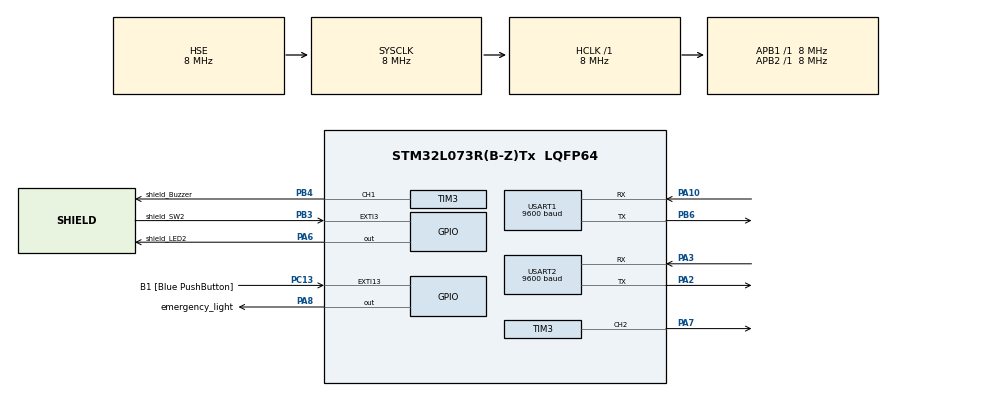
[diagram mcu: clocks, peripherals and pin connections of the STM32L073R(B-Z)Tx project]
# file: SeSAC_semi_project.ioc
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Mcu.Family=STM32L0
Mcu.Name=STM32L073R(B-Z)Tx
Mcu.Package=LQFP64
NVIC.EXTI2_3_IRQn=true\:0\:0\:false\:false\:true\:true\:true\:true
NVIC.EXTI4_15_IRQn=true\:0\:0\:false\:false\:true\:true\:true\:true
NVIC.TIM3_IRQn=true\:0\:0\:false\:false\:true\:true\:true\:true
NVIC.USART1_IRQn=true\:0\:0\:false\:false\:true\:true\:true\:true
PA10.GPIO_PuPd=GPIO_PULLUP
PA10.Mode=Asynchronous
PA10.Signal=USART1_RX
PA13.GPIO_Label=TMS
PA13.Mode=Serial_Wire
PA13.Signal=SYS_SWDIO
PA14.GPIO_Label=TCK
PA14.Mode=Serial_Wire
PA14.Signal=SYS_SWCLK
PA2.Mode=Asynchronous
PA2.Signal=USART2_TX
PA3.Mode=Asynchronous
PA3.Signal=USART2_RX
PA6.GPIO_Label=shield_LED2
PA6.GPIO_Speed=GPIO_SPEED_FREQ_VERY_HIGH
PA6.Signal=GPIO_Output
PA7.Signal=S_TIM3_CH2
PA8.GPIO_Label=emergency_light
PA8.GPIO_Speed=GPIO_SPEED_FREQ_VERY_HIGH
PA8.Signal=GPIO_Output
PB3.GPIO_Label=shield_SW2
PB3.Signal=GPXTI3
PB4.GPIO_Label=shield_Buzzer
PB4.Signal=S_TIM3_CH1
PB6.Mode=Asynchronous
PB6.Signal=USART1_TX
PC13.GPIO_Label=B1 [Blue PushButton]
PC13.GPIO_ModeDefaultEXTI=GPIO_MODE_IT_FALLING
PC13.Signal=GPXTI13
PC14-OSC32_IN.Mode=LSE-External-Oscillator
PC14-OSC32_IN.Signal=RCC_OSC32_IN
PC15-OSC32_OUT.Mode=LSE-External-Oscillator
PC15-OSC32_OUT.Signal=RCC_OSC32_OUT
PH0-OSC_IN.GPIO_Label=MCO
PH0-OSC_IN.Mode=HSE-External-Clock-Source
PH0-OSC_IN.Signal=RCC_OSC_IN
ProjectManager.HeapSize=0x200
ProjectManager.StackSize=0x400
ProjectManager.TargetToolchain=MDK-ARM V5.32
RCC.AHBFreq_Value=8000000
RCC.APB1Freq_Value=8000000
RCC.APB1TimFreq_Value=8000000
RCC.APB2Freq_Value=8000000
RCC.APB2TimFreq_Value=8000000
RCC.HCLKFreq_Value=8000000
RCC.HSE_VALUE=8000000
RCC.HSI16_VALUE=16000000
RCC.HSI48_VALUE=48000000
RCC.HSI_VALUE=16000000
RCC.MSI_VALUE=2097000
RCC.SYSCLKFreq_VALUE=8000000
RCC.SYSCLKSource=RCC_SYSCLKSOURCE_HSE
RCC.VCOOutputFreq_Value=48000000
SH.S_TIM3_CH1.0=TIM3_CH1,PWM Generation1 CH1
SH.S_TIM3_CH2.0=TIM3_CH2,PWM Generation2 CH2
TIM3.Channel-PWM\ Generation1\ CH1=TIM_CHANNEL_1
TIM3.Channel-PWM\ Generation2\ CH2=TIM_CHANNEL_2
TIM3.Period=1000-1
TIM3.Prescaler=8-1
USART1.BaudRate=9600
USART1.VirtualMode-Asynchronous=VM_ASYNC
USART2.BaudRate=9600
USART2.VirtualMode-Asynchronous=VM_ASYNC
board=NUCLEO-L073RZ

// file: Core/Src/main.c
/* USER CODE BEGIN Header */
/**
  ******************************************************************************
  * @file           : main.c
  * @brief          : Main program body
  ******************************************************************************
  * @attention
  *
  * Copyright (c) 2025 STMicroelectronics.
  * All rights reserved.
  *
  * This software is licensed under terms that can be found in the LICENSE file
  * in the root directory of this software component.
  * If no LICENSE file comes with this software, it is provided AS-IS.
  *
  ******************************************************************************
  */
/* USER CODE END Header */
#include "main.h"

/* USER CODE BEGIN Includes */
#include "hw_vcom.h"
#include "stm32l0xx_nucleo.h"
/* USER CODE END Includes */

TIM_HandleTypeDef htim3;

UART_HandleTypeDef huart1;
UART_HandleTypeDef huart2;

/* USER CODE BEGIN PV */

//volatile int motor_state = 0;
UART_HandleTypeDef huart2;
volatile uint8_t buttonPressed = 0;
uint8_t accidentOccurred = 0;

uint8_t rxData;
volatile uint8_t rxIndex = 0;
volatile uint8_t receivedFlag = 0;

/* USER CODE END PV */

void SystemClock_Config(void);
static void MX_GPIO_Init(void);
static void MX_USART2_UART_Init(void);
static void MX_TIM3_Init(void);
static void MX_USART1_UART_Init(void);
/* USER CODE BEGIN PFP */

void HAL_GPIO_EXTI_Callback(uint16_t GPIO_Pin);

/* USER CODE END PFP */

/* USER CODE BEGIN 0 */

void HAL_UART_RxCpltCallback(UART_HandleTypeDef *huart) {
    if (huart->Instance == USART1) {
        receivedFlag = 1;
        HAL_UART_Receive_IT(&huart1, &rxData, 1);
    }
}

/* USER CODE END 0 */

int main(void)
{

  /* MCU Configuration--------------------------------------------------------*/

  /* Reset of all peripherals, Initializes the Flash interface and the Systick. */
  HAL_Init();

  /* Configure the system clock */
  SystemClock_Config();

  /* Initialize all configured peripherals */
  MX_GPIO_Init();
  MX_USART2_UART_Init();
  MX_TIM3_Init();
  MX_USART1_UART_Init();
  /* USER CODE BEGIN 2 */

	//Printf("Motor Example\r\n");
	Printf("Buzzer Example\r\n");

	HAL_TIM_PWM_Start(&htim3,TIM_CHANNEL_1); // Add PWM Buzzer
	HAL_TIM_PWM_Start(&htim3,TIM_CHANNEL_2); // servo_motor
	HAL_UART_Receive_IT(&huart1, &rxData, 1);
	HAL_GPIO_WritePin(shield_LED2_GPIO_Port, shield_LED2_Pin, GPIO_PIN_RESET);
	HAL_GPIO_WritePin(emergency_light_GPIO_Port, emergency_light_Pin, GPIO_PIN_RESET);

  /* USER CODE END 2 */

  /* Infinite loop */
  /* USER CODE BEGIN WHILE */
  while (1)
  {

		if(receivedFlag){
			receivedFlag = 0;
			if(rxData == '0'){ // -> accident
				Printf("%c accident occured\n\r", rxData);
				__HAL_TIM_SET_COMPARE(&htim3, TIM_CHANNEL_1, 30);// persistent buzzer on
				HAL_GPIO_TogglePin(shield_LED2_GPIO_Port, shield_LED2_Pin);  // Toggle LED2 state
				HAL_GPIO_TogglePin(emergency_light_GPIO_Port, emergency_light_Pin);  // Toggle emergency state

				//HAL_Delay(500);  // 0.5 second delay
			}
			else if(rxData == '1'){  // -> distance <= 5cm
				__HAL_TIM_SET_COMPARE(&htim3, TIM_CHANNEL_1, 10);
				HAL_GPIO_WritePin(shield_LED2_GPIO_Port, shield_LED2_Pin, GPIO_PIN_RESET);
				HAL_GPIO_WritePin(emergency_light_GPIO_Port, emergency_light_Pin, GPIO_PIN_RESET);
			}

			else {
				__HAL_TIM_SET_COMPARE(&htim3, TIM_CHANNEL_1, 0);
				HAL_GPIO_WritePin(shield_LED2_GPIO_Port, shield_LED2_Pin, GPIO_PIN_RESET);
				HAL_GPIO_WritePin(emergency_light_GPIO_Port, emergency_light_Pin, GPIO_PIN_RESET);
			}
		}

    /* USER CODE END WHILE */

  }
}

void SystemClock_Config(void)
{
  RCC_OscInitTypeDef RCC_OscInitStruct = {0};
  RCC_ClkInitTypeDef RCC_ClkInitStruct = {0};
  RCC_PeriphCLKInitTypeDef PeriphClkInit = {0};

  /** Configure the main internal regulator output voltage
  */
  __HAL_PWR_VOLTAGESCALING_CONFIG(PWR_REGULATOR_VOLTAGE_SCALE1);

  /** Initializes the RCC Oscillators according to the specified parameters
  * in the RCC_OscInitTypeDef structure.
  */
  RCC_OscInitStruct.OscillatorType = RCC_OSCILLATORTYPE_HSE;
  RCC_OscInitStruct.HSEState = RCC_HSE_BYPASS;
  RCC_OscInitStruct.PLL.PLLState = RCC_PLL_NONE;
  if (HAL_RCC_OscConfig(&RCC_OscInitStruct) != HAL_OK)
  {
    Error_Handler();
  }

  /** Initializes the CPU, AHB and APB buses clocks
  */
  RCC_ClkInitStruct.ClockType = RCC_CLOCKTYPE_HCLK|RCC_CLOCKTYPE_SYSCLK
                              |RCC_CLOCKTYPE_PCLK1|RCC_CLOCKTYPE_PCLK2;
  RCC_ClkInitStruct.SYSCLKSource = RCC_SYSCLKSOURCE_HSE;
  RCC_ClkInitStruct.AHBCLKDivider = RCC_SYSCLK_DIV1;
  RCC_ClkInitStruct.APB1CLKDivider = RCC_HCLK_DIV1;
  RCC_ClkInitStruct.APB2CLKDivider = RCC_HCLK_DIV1;

  if (HAL_RCC_ClockConfig(&RCC_ClkInitStruct, FLASH_LATENCY_0) != HAL_OK)
  {
    Error_Handler();
  }
  PeriphClkInit.PeriphClockSelection = RCC_PERIPHCLK_USART1|RCC_PERIPHCLK_USART2;
  PeriphClkInit.Usart1ClockSelection = RCC_USART1CLKSOURCE_PCLK2;
  PeriphClkInit.Usart2ClockSelection = RCC_USART2CLKSOURCE_PCLK1;
  if (HAL_RCCEx_PeriphCLKConfig(&PeriphClkInit) != HAL_OK)
  {
    Error_Handler();
  }
}

static void MX_TIM3_Init(void)
{

  TIM_MasterConfigTypeDef sMasterConfig = {0};
  TIM_OC_InitTypeDef sConfigOC = {0};

  htim3.Instance = TIM3;
  htim3.Init.Prescaler = 8-1;
  htim3.Init.CounterMode = TIM_COUNTERMODE_UP;
  htim3.Init.Period = 1000-1;
  htim3.Init.ClockDivision = TIM_CLOCKDIVISION_DIV1;
  htim3.Init.AutoReloadPreload = TIM_AUTORELOAD_PRELOAD_DISABLE;
  if (HAL_TIM_PWM_Init(&htim3) != HAL_OK)
  {
    Error_Handler();
  }
  sMasterConfig.MasterOutputTrigger = TIM_TRGO_RESET;
  sMasterConfig.MasterSlaveMode = TIM_MASTERSLAVEMODE_DISABLE;
  if (HAL_TIMEx_MasterConfigSynchronization(&htim3, &sMasterConfig) != HAL_OK)
  {
    Error_Handler();
  }
  sConfigOC.OCMode = TIM_OCMODE_PWM1;
  sConfigOC.Pulse = 0;
  sConfigOC.OCPolarity = TIM_OCPOLARITY_HIGH;
  sConfigOC.OCFastMode = TIM_OCFAST_DISABLE;
  if (HAL_TIM_PWM_ConfigChannel(&htim3, &sConfigOC, TIM_CHANNEL_1) != HAL_OK)
  {
    Error_Handler();
  }
  if (HAL_TIMEx_RemapConfig(&htim3, TIM3_TI1_GPIO) != HAL_OK)
  {
    Error_Handler();
  }
  if (HAL_TIM_PWM_ConfigChannel(&htim3, &sConfigOC, TIM_CHANNEL_2) != HAL_OK)
  {
    Error_Handler();
  }
  /* USER CODE BEGIN TIM3_Init 2 */

	/*channel 1 is for buzzer*/
	/*channel 2 is for motor*/

  /* USER CODE END TIM3_Init 2 */
  HAL_TIM_MspPostInit(&htim3);

}

static void MX_USART1_UART_Init(void)
{

  huart1.Instance = USART1;
  huart1.Init.BaudRate = 9600;
  huart1.Init.WordLength = UART_WORDLENGTH_8B;
  huart1.Init.StopBits = UART_STOPBITS_1;
  huart1.Init.Parity = UART_PARITY_NONE;
  huart1.Init.Mode = UART_MODE_TX_RX;
  huart1.Init.HwFlowCtl = UART_HWCONTROL_NONE;
  huart1.Init.OverSampling = UART_OVERSAMPLING_16;
  huart1.Init.OneBitSampling = UART_ONE_BIT_SAMPLE_DISABLE;
  huart1.AdvancedInit.AdvFeatureInit = UART_ADVFEATURE_NO_INIT;
  if (HAL_UART_Init(&huart1) != HAL_OK)
  {
    Error_Handler();
  }

}

static void MX_USART2_UART_Init(void)
{

  /* USER CODE BEGIN USART2_Init 1 */
	HW_VCOM_Init(&huart2);

  /* USER CODE END USART2_Init 1 */
  huart2.Instance = USART2;
  huart2.Init.BaudRate = 9600;
  huart2.Init.WordLength = UART_WORDLENGTH_8B;
  huart2.Init.StopBits = UART_STOPBITS_1;
  huart2.Init.Parity = UART_PARITY_NONE;
  huart2.Init.Mode = UART_MODE_TX_RX;
  huart2.Init.HwFlowCtl = UART_HWCONTROL_NONE;
  huart2.Init.OverSampling = UART_OVERSAMPLING_16;
  huart2.Init.OneBitSampling = UART_ONE_BIT_SAMPLE_DISABLE;
  huart2.AdvancedInit.AdvFeatureInit = UART_ADVFEATURE_NO_INIT;
  if (HAL_UART_Init(&huart2) != HAL_OK)
  {
    Error_Handler();
  }

}

static void MX_GPIO_Init(void)
{
  GPIO_InitTypeDef GPIO_InitStruct = {0};

  /* GPIO Ports Clock Enable */
  __HAL_RCC_GPIOC_CLK_ENABLE();
  __HAL_RCC_GPIOH_CLK_ENABLE();
  __HAL_RCC_GPIOA_CLK_ENABLE();
  __HAL_RCC_GPIOB_CLK_ENABLE();

  /*Configure GPIO pin Output Level */
  HAL_GPIO_WritePin(GPIOA, shield_LED2_Pin|emergency_light_Pin, GPIO_PIN_RESET);

  /*Configure GPIO pin : B1_Pin */
  GPIO_InitStruct.Pin = B1_Pin;
  GPIO_InitStruct.Mode = GPIO_MODE_IT_FALLING;
  GPIO_InitStruct.Pull = GPIO_NOPULL;
  HAL_GPIO_Init(B1_GPIO_Port, &GPIO_InitStruct);

  /*Configure GPIO pins : shield_LED2_Pin emergency_light_Pin */
  GPIO_InitStruct.Pin = shield_LED2_Pin|emergency_light_Pin;
  GPIO_InitStruct.Mode = GPIO_MODE_OUTPUT_PP;
  GPIO_InitStruct.Pull = GPIO_NOPULL;
  GPIO_InitStruct.Speed = GPIO_SPEED_FREQ_VERY_HIGH;
  HAL_GPIO_Init(GPIOA, &GPIO_InitStruct);

  /*Configure GPIO pin : shield_SW2_Pin */
  GPIO_InitStruct.Pin = shield_SW2_Pin;
  GPIO_InitStruct.Mode = GPIO_MODE_IT_RISING;
  GPIO_InitStruct.Pull = GPIO_NOPULL;
  HAL_GPIO_Init(shield_SW2_GPIO_Port, &GPIO_InitStruct);

  /* EXTI interrupt init*/
  HAL_NVIC_SetPriority(EXTI2_3_IRQn, 0, 0);
  HAL_NVIC_EnableIRQ(EXTI2_3_IRQn);

  HAL_NVIC_SetPriority(EXTI4_15_IRQn, 0, 0);
  HAL_NVIC_EnableIRQ(EXTI4_15_IRQn);

}

/* USER CODE BEGIN 4 */

void HAL_GPIO_EXTI_Callback(uint16_t GPIO_Pin)
{
  if (GPIO_Pin == shield_SW2_Pin) {
		if(accidentOccurred){//accidentOccurred == 1
			Printf("Accident stop and init: Buzzer Off\r\n");
			accidentOccurred = 0;
			__HAL_TIM_SET_COMPARE(&htim3, TIM_CHANNEL_1, 0); // buzzer off
			HAL_GPIO_WritePin(shield_LED2_GPIO_Port, shield_LED2_Pin, GPIO_PIN_RESET);  // Turn off LED2
			HAL_GPIO_WritePin(emergency_light_GPIO_Port, emergency_light_Pin, GPIO_PIN_RESET); // Turn off emergency light
		}
		else{// accidentOccurred == 0
			Printf("Accident Occurred: Buzzer On\r\n");
			accidentOccurred = 1;
			//__HAL_TIM_SET_COMPARE(&htim3, TIM_CHANNEL_1, 4); //buzzer on
		}
  }
}

/* USER CODE END 4 */

void Error_Handler(void)
{
  __disable_irq();
  while (1)
  {
  }
}
